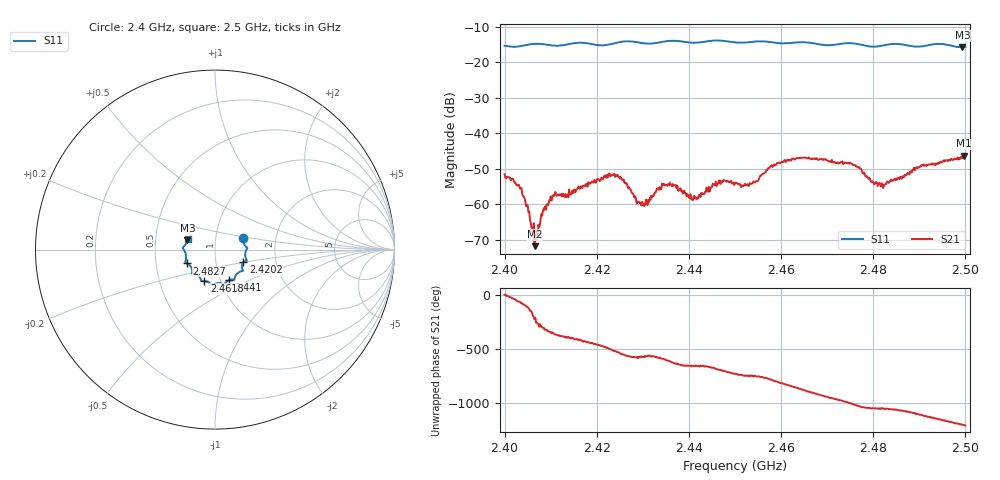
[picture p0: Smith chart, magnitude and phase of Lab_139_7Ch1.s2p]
# Hz S RI R 50
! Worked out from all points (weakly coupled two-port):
!   601 points, 2.4 GHz to 2.5 GHz, reference 50 ohm
!   highest |S21| = -46.29 dB at 2.4997 GHz (marker M1); lowest = -71.7 dB at 2.4065 GHz (marker M2)
!   lowest |S11| = -15.8 dB at 2.4993 GHz (marker M3), VSWR 1.39, Z = 36.5 + j3.84 ohm
!   |S11| at or under -10 dB: start of sweep to end of sweep
!   S12 and S22 are empty: the file has one direction only
!   S11 on the Smith chart (normalised r, x): 2.4 GHz: 1.36, +0.18; 2.4202 GHz: 1.36, -0.20; 2.441 GHz: 1.10, -0.39; 2.4618 GHz: 0.84, -0.30; 2.4827 GHz: 0.72, -0.12; 2.5 GHz: 0.73, +0.09
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2.4e9  0.158 0.0626  0.00264 4.2e-06  0 0  0 0
2.403333e9  0.1654 0.0251  0.000679 -0.00153  0 0  0 0
2.4065e9  0.1804 0.0102  -0.000174 0.000191  0 0  0 0
2.4105e9  0.1705 -0.0111  0.00133 0.000131  0 0  0 0
2.416667e9  0.1773 -0.0605  0.000878 -0.00156  0 0  0 0
2.420167e9  0.1583 -0.0712  -0.000352 -0.00226  0 0  0 0
2.424667e9  0.1536 -0.1114  -0.00243 -0.000426  0 0  0 0
2.43e9  0.1362 -0.1245  -0.000827 0.000521  0 0  0 0
2.433333e9  0.1114 -0.1509  -0.00129 0.00108  0 0  0 0
2.436333e9  0.109 -0.1671  -0.000163 0.00179  0 0  0 0
2.441e9  0.0785 -0.1697  0.0006 0.00111  0 0  0 0
2.447e9  0.0476 -0.1945  0.00192 0.000907  0 0  0 0
2.45e9  0.0283 -0.187  0.00199 -0.000315  0 0  0 0
2.453333e9  -0.00309 -0.1915  0.00171 -0.000958  0 0  0 0
2.461833e9  -0.0594 -0.1753  -0.00211 -0.00357  0 0  0 0
2.466667e9  -0.0784 -0.1683  -0.00428 0.000202  0 0  0 0
2.475167e9  -0.1275 -0.1333  0.000998 0.00361  0 0  0 0
2.482667e9  -0.1559 -0.0774  0.00169 0.000886  0 0  0 0
2.483333e9  -0.1602 -0.0756  0.00184 0.0008  0 0  0 0
2.499333e9  -0.1537 0.0513  -0.00232 -0.00412  0 0  0 0
2.499667e9  -0.1529 0.0559  -0.00264 -0.00406  0 0  0 0
2.5e9  -0.1521 0.0606  -0.00285 -0.00376  0 0  0 0
